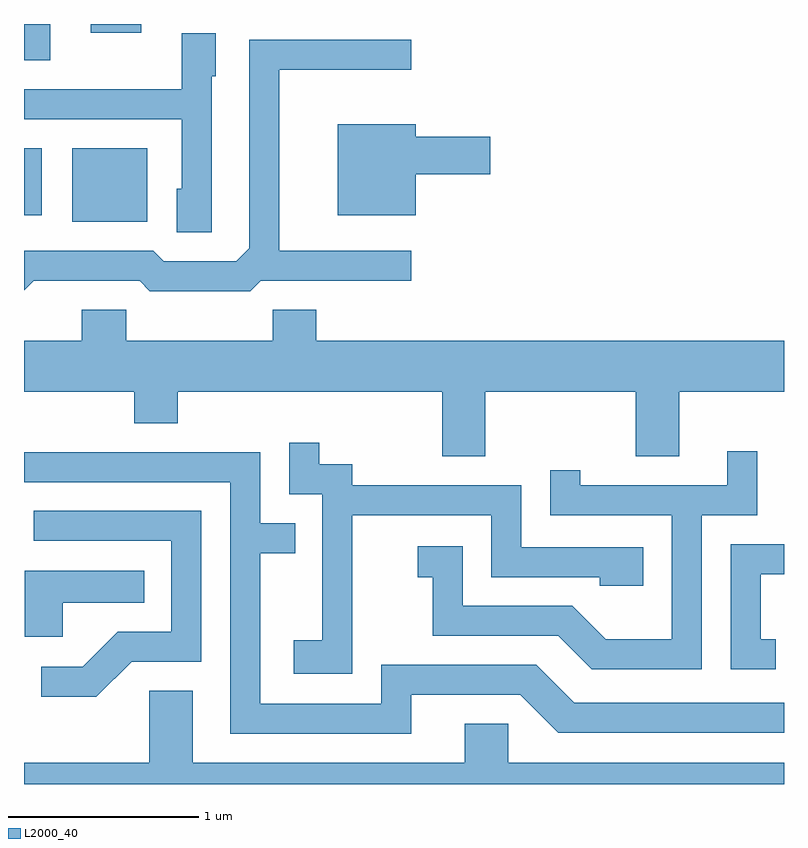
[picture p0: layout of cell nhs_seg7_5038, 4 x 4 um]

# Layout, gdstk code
import gdstk
lib = gdstk.Library(unit=1e-6, precision=1e-09)
def R(c, l, rs):  # rectangles x0, y0, x1, y1
    for r in rs: c.add(gdstk.rectangle(r[:2], r[2:], *l))
def P(c, l, *ps):  # polygons
    for p in ps: c.add(gdstk.Polygon(p, *l))
L2000_40 = (2000, 40)

nhs_seg7_5038 = lib.new_cell('nhs_seg7_5038')
R(nhs_seg7_5038, L2000_40, [(339.866,1715.211,340.259,1715.599), (339.611,1715.246,339.704,1715.599), (339.611,1716.061,339.749,1716.252), (339.961,1716.206,340.229,1716.252)])
P(nhs_seg7_5038, L2000_40, [(340.599,1715.976),(340.619,1715.976),(340.619,1716.204),(340.441,1716.204),(340.441,1715.909),(339.611,1715.909),(339.611,1715.751),(340.441,1715.751),(340.441,1715.384),(340.416,1715.384),(340.416,1715.156),(340.599,1715.156)],
  [(340.857,1714.901),(341.648,1714.901),(341.648,1715.059),(340.954,1715.059),(340.954,1716.011),(341.648,1716.011),(341.648,1716.169),(340.796,1716.169),(340.796,1715.072),(340.729,1715.004),(340.347,1715.004),(340.292,1715.059),(339.611,1715.059),(339.611,1714.85),(339.662,1714.901),(340.219,1714.901),(340.274,1714.846),(340.802,1714.846)],
  [(341.674,1715.461),(342.064,1715.461),(342.064,1715.659),(341.674,1715.659),(341.674,1715.724),(341.261,1715.724),(341.261,1715.246),(341.674,1715.246)],
  [(339.916,1714.749),(339.916,1714.584),(339.611,1714.584),(339.611,1714.316),(340.191,1714.316),(340.191,1714.151),(340.419,1714.151),(340.419,1714.316),(341.811,1714.316),(341.811,1713.976),(342.039,1713.976),(342.039,1714.316),(342.831,1714.316),(342.831,1713.976),(343.059,1713.976),(343.059,1714.316),(343.611,1714.316),(343.611,1714.584),(341.149,1714.584),(341.149,1714.749),(340.921,1714.749),(340.921,1714.584),(340.149,1714.584),(340.149,1714.749)],
  [(341.339,1713.666),(342.071,1713.666),(342.071,1713.341),(342.641,1713.341),(342.641,1713.296),(342.869,1713.296),(342.869,1713.499),(342.229,1713.499),(342.229,1713.824),(341.339,1713.824),(341.339,1713.934),(341.164,1713.934),(341.164,1714.048),(341.006,1714.048),(341.006,1713.776),(341.181,1713.776),(341.181,1713.009),(341.031,1713.009),(341.031,1712.831),(341.339,1712.831)],
  [(343.179,1713.666),(343.469,1713.666),(343.469,1714.003),(343.311,1714.003),(343.311,1713.824),(342.539,1713.824),(342.539,1713.903),(342.381,1713.903),(342.381,1713.666),(343.021,1713.666),(343.021,1713.014),(342.672,1713.014),(342.497,1713.189),(341.919,1713.189),(341.919,1713.504),(341.683,1713.504),(341.683,1713.341),(341.761,1713.341),(341.761,1713.031),(342.424,1713.031),(342.599,1712.856),(343.179,1712.856)],
  [(341.649,1712.721),(342.224,1712.721),(342.424,1712.521),(343.611,1712.521),(343.611,1712.679),(342.507,1712.679),(342.307,1712.879),(341.491,1712.879),(341.491,1712.674),(340.854,1712.674),(340.854,1713.466),(341.038,1713.466),(341.038,1713.624),(340.854,1713.624),(340.854,1713.999),(339.611,1713.999),(339.611,1713.841),(340.696,1713.841),(340.696,1712.516),(341.649,1712.516)],
  [(340.177,1712.896),(340.544,1712.896),(340.544,1713.689),(339.663,1713.689),(339.663,1713.531),(340.386,1713.531),(340.386,1713.054),(340.104,1713.054),(339.919,1712.869),(339.703,1712.869),(339.703,1712.711),(339.992,1712.711)],
  [(343.568,1713.014),(343.489,1713.014),(343.489,1713.356),(343.611,1713.356),(343.611,1713.514),(343.331,1713.514),(343.331,1712.856),(343.568,1712.856)],
  [(339.814,1713.206),(340.243,1713.206),(340.243,1713.374),(339.616,1713.374),(339.616,1713.026),(339.814,1713.026)],
  [(343.611,1712.364),(342.159,1712.364),(342.159,1712.569),(341.931,1712.569),(341.931,1712.364),(340.499,1712.364),(340.499,1712.744),(340.271,1712.744),(340.271,1712.364),(339.611,1712.364),(339.611,1712.252),(343.611,1712.252)])

lib.write_gds('nhs_seg7_5038.gds')
